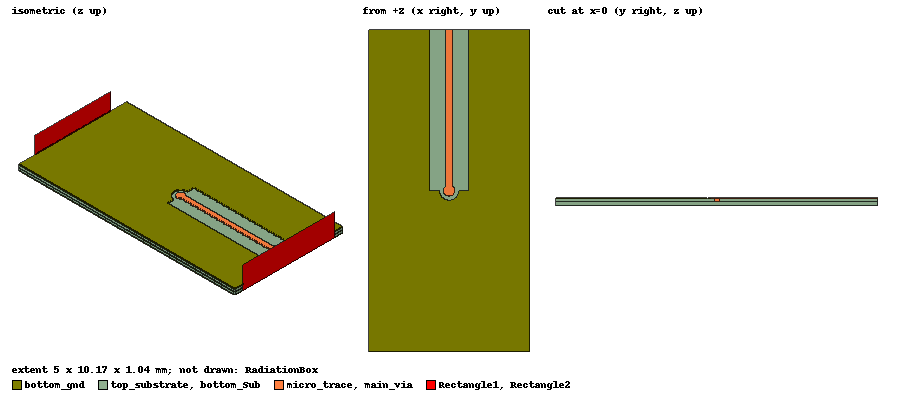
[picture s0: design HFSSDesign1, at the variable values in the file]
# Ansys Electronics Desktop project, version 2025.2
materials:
  vacuum: permittivity=1
  copper: permeability=0.999991 conductivity=58000000
  Material1: permittivity=3.3 dielectric_loss_tangent=0.003
  air: permittivity=1.0006 permeability=1.0000004

design HFSSDesign1 (HFSS, HFSS Terminal Network, model units mm)
options: Calculate_Lossy_Dielectrics
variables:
  L = 5mm
  H_sub = 0.1mm
  H_copp = 0.02mm
  width_gnd = 5mm
  width_micro = 0.218mm
  width_strip = 0.09mm
  via_diameter = 0.15mm
  via_H = 0.1mm
  Antipad_Diameter = 0.6mm
  fence_diameter = 0.25mm
  Pad_diameter = 0.35mm
  via_spacing = 0.055mm
  copper_thick = 20um
  track_length = 10mm
  VIA_D = 0.25mm
  VIA_space_SL = 0.25mm
  sub_thick = 100um
  L2 = L
  width_separation = 1mm
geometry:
  bottom_gnd [copper] = box(corner=(-width_gnd/2, -L, 0mm), size=(width_gnd, 2*L, H_copp))
  bottom_Sub [Material1] = box(corner=(-width_gnd/2, -L, H_copp), size=(width_gnd, 2*L, H_sub))
  micro_gnd = box(corner=(-width_gnd/2, 0mm, (H_copp+H_sub)), size=(width_gnd, L, H_copp))
  strip_trace = box(corner=(-width_strip/2, -L, (H_copp+H_sub)), size=(width_strip, L, H_copp))
  top_substrate [Material1] = box(corner=(-width_gnd/2, -L, (H_copp+H_sub)), size=(width_gnd, 2*L, H_sub+H_copp))
  top_substrate.subtract(micro_gnd)
  top_substrate.subtract(strip_trace)
  micro_trace [copper] = box(corner=(-width_micro/2, 0, (2*H_copp+2*H_sub)), size=(width_micro, L, H_copp))
  top_gnd = box(corner=(-width_gnd/2, -L, (2*H_copp+2*H_sub)), size=(width_gnd, 2*L, H_copp))
  upper_pad = cylinder(axis=Z, base_centre=(0mm, 0mm, (2*H_copp+2*H_sub)), radius=Pad_diameter/2, height=H_copp)
  anti_pad = cylinder(axis=Z, base_centre=(0mm, 0mm, (2*H_copp+2*H_sub)), radius=Antipad_Diameter/2, height=H_copp)
  top_gnd.subtract(anti_pad)
  main_via [copper] = cylinder(axis=Z, base_centre=(0mm, 0mm, (2*H_copp+H_sub)), radius=via_diameter/2, height=H_sub)
  micro_region = box(corner=(-(width_micro+width_separation)/2, 0, (2*H_copp+2*H_sub)), size=(width_micro+width_separation, L, H_copp))
  top_gnd.subtract(micro_region)
  Cylinder1 = cylinder(axis=Z, base_centre=(0.5*width_micro+0.7mm+fence_diameter/2 -0.2mm, fence_diameter/2, H_copp), radius=fence_diameter/2, height=(H_copp+2*H_sub))
  Cylinder1.duplicate_along_line(step=(-1.110223e-16mm, 0.305mm, 0mm), total=16, attached)
  Cylinder2 = cylinder(axis=Z, base_centre=(-0.5*width_micro-0.7mm-fence_diameter/2 + 0.2mm, fence_diameter/2, H_copp), radius=fence_diameter/2, height=(H_copp+2*H_sub))
  Cylinder2.duplicate_along_line(step=(-1.110223e-16mm, 0.305mm, 0mm), total=16, attached)
  Cylinder3 = cylinder(axis=Z, base_centre=(0.5*width_micro+0.48mm+fence_diameter/2, -fence_diameter/2-via_spacing, H_copp), radius=fence_diameter/2, height=(H_copp+2*H_sub))
  Cylinder4 = cylinder(axis=Z, base_centre=(-0.5*width_micro-0.48mm-fence_diameter/2, -fence_diameter/2-via_spacing, H_copp), radius=fence_diameter/2, height=(H_copp+2*H_sub))
  Cylinder5 = cylinder(axis=Z, base_centre=(0.5*width_strip+0.205mm, -3*fence_diameter/2-4*via_spacing, H_copp), radius=fence_diameter/2, height=(H_copp+2*H_sub))
  Cylinder5.duplicate_along_line(step=(0mm, -0.31mm, 0mm), total=14, attached)
  Cylinder6 = cylinder(axis=Z, base_centre=(-0.5*width_strip-0.205mm, -3*fence_diameter/2-4*via_spacing, H_copp), radius=fence_diameter/2, height=(H_copp+2*H_sub))
  Cylinder6.duplicate_along_line(step=(0mm, -0.31mm, 0mm), total=14, attached)
  Cylinder7 = cylinder(axis=Z, base_centre=(0.5*width_micro+0.7mm+fence_diameter/2  -0.2mm, 16*(fence_diameter+via_spacing)+2*via_spacing, H_copp), radius=fence_diameter/2, height=(H_copp+2*H_sub))
  Cylinder8 = cylinder(axis=Z, base_centre=(-0.5*width_micro-0.7mm-fence_diameter/2 + 0.2mm, 16*(fence_diameter+via_spacing)+2*via_spacing, H_copp), radius=fence_diameter/2, height=(H_copp+2*H_sub))
  box1 = box(corner=(-width_gnd/2, L, 0), size=(width_gnd, L, 2*H_sub+3*H_copp))
  box1_1 = box1.copy()
  Cylinder7.subtract(box1_1)
  Cylinder8.subtract(box1)
  box2 = box(corner=(-width_gnd/2, -L, 0), size=(width_gnd, -L, 2*H_sub+3*H_copp))
  Cylinder9 = cylinder(axis=Z, base_centre=(0.5*width_strip+0.205mm, -(16*fence_diameter+17*via_spacing), H_copp), radius=fence_diameter/2, height=(H_copp+2*H_sub))
  Cylinder10 = cylinder(axis=Z, base_centre=(-0.5*width_strip-0.205mm, -(16*fence_diameter+17*via_spacing), H_copp), radius=fence_diameter/2, height=(H_copp+2*H_sub))
  box2_1 = box2.copy()
  Cylinder10.subtract(box2_1)
  Cylinder9.subtract(box2)
  Rectangle1 = rectangle(corner=(-(width_micro/2+0.5mm+6*fence_diameter), L, 0mm), z_size=4*(3*H_copp+2*H_sub), x_size=2*(width_micro/2+0.5mm+6*fence_diameter))
  Rectangle2 = rectangle(corner=(-(width_strip/2+0.2mm+6*fence_diameter), -L, 0mm), z_size=4*(3*H_copp+2*H_sub), x_size=2*(width_strip/2+0.2mm+6*fence_diameter))
  RadiationBox [air] = box(corner=(-12.5mm, -L, 0mm), size=(25mm, 2*L, 10mm))
  micro_gnd_1 = box(corner=(-width_gnd/2, 0mm, (H_copp+H_sub)), size=(width_gnd, L, H_copp))
  anti_pad1 = cylinder(axis=Z, base_centre=(0mm, 0mm, (H_copp+H_sub)), radius=Antipad_Diameter/2, height=H_copp)
  micro_gnd_1.subtract(anti_pad1)
  Cylinder1_1 = Cylinder1.copy()
  Cylinder10_1 = Cylinder10.copy()
  Cylinder2_1 = Cylinder2.copy()
  Cylinder3_1 = Cylinder3.copy()
  Cylinder4_1 = Cylinder4.copy()
  Cylinder5_1 = Cylinder5.copy()
  Cylinder6_1 = Cylinder6.copy()
  Cylinder7_1 = Cylinder7.copy()
  Cylinder8_1 = Cylinder8.copy()
  Cylinder9_1 = Cylinder9.copy()
  bottom_Sub.subtract(Cylinder1_1, Cylinder10_1, Cylinder2_1, Cylinder3_1, Cylinder4_1, Cylinder5_1, Cylinder6_1, Cylinder7_1, Cylinder8_1, Cylinder9_1)
  Cylinder1_2 = Cylinder1.copy()
  Cylinder10_2 = Cylinder10.copy()
  Cylinder2_2 = Cylinder2.copy()
  Cylinder3_2 = Cylinder3.copy()
  Cylinder4_2 = Cylinder4.copy()
  Cylinder5_2 = Cylinder5.copy()
  Cylinder6_2 = Cylinder6.copy()
  Cylinder7_2 = Cylinder7.copy()
  Cylinder8_2 = Cylinder8.copy()
  Cylinder9_2 = Cylinder9.copy()
  top_substrate.subtract(Cylinder1_2, Cylinder10_2, Cylinder2_2, Cylinder3_2, Cylinder4_2, Cylinder5_2, Cylinder6_2, Cylinder7_2, Cylinder8_2, Cylinder9_2)
  micro_gnd_1.unite(Cylinder1, Cylinder2, Cylinder7, Cylinder8)
  top_gnd.unite(micro_gnd_1)
  bottom_gnd.unite(top_gnd)
  bottom_gnd.unite(Cylinder3..Cylinder6, Cylinder9, Cylinder10)
  micro_trace.unite(upper_pad)
  lower_pad = cylinder(axis=Z, base_centre=(0mm, 0mm, (H_copp+H_sub)), radius=Pad_diameter/2, height=H_copp)
  lower_pad_1 = lower_pad.copy()
  top_substrate.subtract(lower_pad_1)
  strip_trace2 [copper] = box(corner=(-width_strip/2, -L, (H_copp+H_sub)), size=(width_strip, L, H_copp))
  strip_trace2.unite(lower_pad)
  Cylinder_safe = cylinder(axis=Z, base_centre=(-0.5*width_micro-0.25mm-fence_diameter/2, -fence_diameter/2-4.5*via_spacing, H_copp), radius=fence_diameter/2, height=(H_copp+2*H_sub))
  Cylinder_safe1 = cylinder(axis=Z, base_centre=(0.5*width_micro+0.25mm+fence_diameter/2, -fence_diameter/2-4.5*via_spacing, H_copp), radius=fence_diameter/2, height=(H_copp+2*H_sub))
  Cylinder_safe_1 = Cylinder_safe.copy()
  Cylinder_safe1_1 = Cylinder_safe1.copy()
  bottom_Sub.subtract(Cylinder_safe_1, Cylinder_safe1_1)
  Cylinder_safe_2 = Cylinder_safe.copy()
  Cylinder_safe1_2 = Cylinder_safe1.copy()
  top_substrate.subtract(Cylinder_safe_2, Cylinder_safe1_2)
  bottom_gnd.unite(Cylinder_safe, Cylinder_safe1)
  Box3 = box(corner=(-1.8mm, -L, H_copp), size=(2*width_micro, 2*L, H_sub+H_copp+H_sub))
  Box4 = box(corner=(1.8mm-2*width_micro, -L, H_copp), size=(2*width_micro, 2*L, H_sub+H_copp+H_sub))
  Box3_1 = Box3.copy()
  Box4_1 = Box4.copy()
  bottom_Sub.subtract(Box3_1, Box4_1)
  Box3_2 = Box3.copy()
  Box4_2 = Box4.copy()
  top_substrate.subtract(Box3_2, Box4_2)
  bottom_gnd.unite(Box3, Box4)
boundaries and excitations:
  micro_trace_T1: Terminal port=1 Faces=micro_trace.face(+y) TerminalResistance=50ohm
  strip_trace2_T1: Terminal port=2 Faces=strip_trace2.face(-y) TerminalResistance=50ohm
  1: Wave Port Faces=Rectangle1.face WavePortType=Terminal NumModes=1
  2: Wave Port Faces=Rectangle2.face WavePortType=Terminal NumModes=1 SpecifiedWaveDirectionFlip
  reference conductors: bottom_gnd
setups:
  Setup1: HfssDriven Frequency=50GHz MaxDeltaS=0.05 MaximumPasses=20 MinimumPasses=1 MinimumConvergedPasses=1 PercentRefinement=30 BasisOrder=1 PortAccuracy=2 DrivenSolverType="Direct Solver"
    sweep Sweep: 0.001GHz to 50GHz step 0.1GHz; Type=Interpolating InterpTolerance=0.5 InterpMaxSolns=250 PassivityErrorTolerance=0.0001
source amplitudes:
  1:1: 1V 0deg
  2:1: 0V 0deg
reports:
  Terminal S Parameter Plot1: dB(St(micro_trace_T1,micro_trace_T1)), dB(St(strip_trace2_T1,micro_trace_T1)), dB(St(micro_trace_T1,strip_trace2_T1)), dB(St(strip_trace2_T1,strip_trace2_T1)) vs Freq on Setup1 : Sweep; markers MX1 at x=1.003663e+10, MX2 at x=4.985348e+10, MY1 at y=-17.2549
  Terminal S Parameter Plot2: dB(St(micro_trace_T1,micro_trace_T1)) vs Freq on Setup1 : Sweep
  Terminal S Parameter Plot3: dB(St(strip_trace2_T1,micro_trace_T1)) vs Freq on Setup1 : Sweep
  Terminal S Parameter Plot4: dB(St(micro_trace_T1,strip_trace2_T1)) vs Freq on Setup1 : Sweep
  Terminal S Parameter Plot5: dB(St(strip_trace2_T1,strip_trace2_T1)) vs Freq on Setup1 : Sweep
